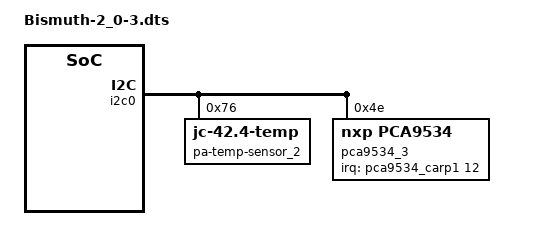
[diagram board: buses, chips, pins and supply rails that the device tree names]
/dts-v1/;
/plugin/;


/ {
    fragment@0 {
        target = <&i2c0>;
        __overlay__ {
            pa-temp-sensor_2@76 {
                compatible = "jedec,jc-42.4-temp";
                reg = <0x76>;
            };


            pca9534_3@4E {
                compatible = "nxp,pca9534";
                reg = <0x4E>;
                gpio-controller;
                #gpio-cells = <2>;
                interrupt-parent = <&pca9534_carp1>;
                interrupts = <12 2>; /* IRQ_TYPE_LEVEL_LOW IRQ_TYPE_EDGE_FALLING */
            };
        };
    };

    
};
